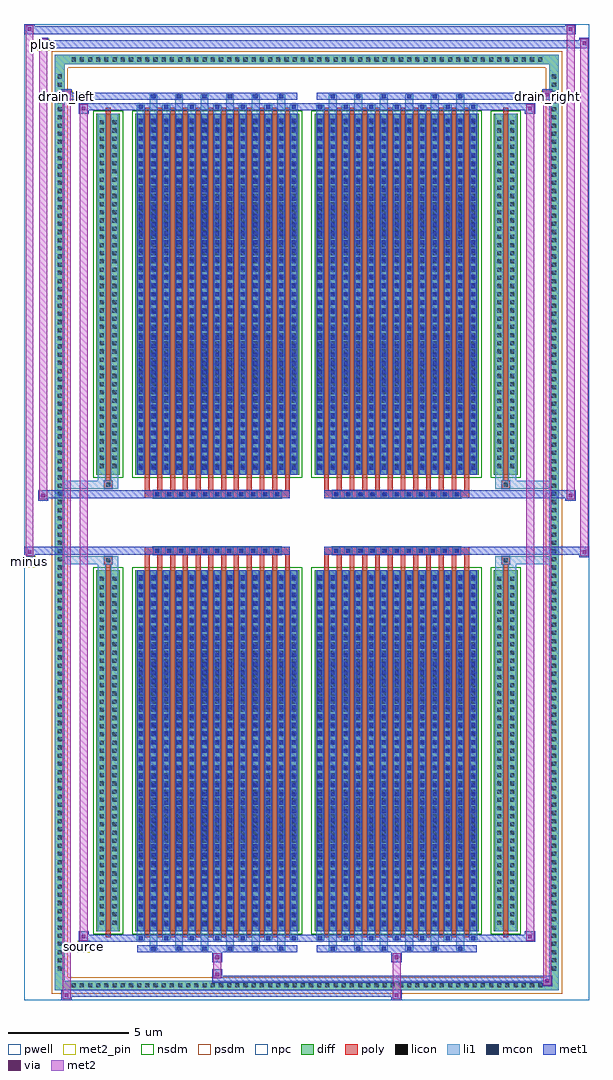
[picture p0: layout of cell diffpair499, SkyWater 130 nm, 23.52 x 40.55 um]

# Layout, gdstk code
import gdstk
lib = gdstk.Library(unit=1e-6, precision=5e-09)
def R(c, l, rs):  # rectangles x0, y0, x1, y1
    for r in rs: c.add(gdstk.rectangle(r[:2], r[2:], *l))
def A(c, l, x, y, w, h, nx, ny, dx, dy):  # array of equal rectangles
    R(c, l, [(x+i*dx, y+j*dy, x+i*dx+w, y+j*dy+h) for i in range(nx) for j in range(ny)])
def P(c, l, *ps):  # polygons
    for p in ps: c.add(gdstk.Polygon(p, *l))
pwell = (64, 44)
diff = (65, 20)
poly = (66, 20)
licon = (66, 44)
li1 = (67, 20)
mcon = (67, 44)
met1 = (68, 20)
via = (68, 44)
met2_pin = (69, 16)
met2 = (69, 20)
nsdm = (93, 44)
psdm = (94, 20)
npc = (95, 20)

diffpair499 = lib.new_cell('diffpair499')
R(diffpair499, pwell, [(-11.74,-19.84,11.74,20.71), (-9.06,-18.03,-0.01,-0.805), (0.01,-18.03,9.06,-0.805), (-9.06,0.805,-0.01,18.03), (0.01,0.805,9.06,18.03)])
A(diffpair499, diff, -9.895, -19.44, 0.41, 0.41, 58, 2, 0.34, 38.47)
A(diffpair499, diff, -10.47, -18.735, 0.41, 0.41, 1, 110, 0, 0.34)
A(diffpair499, diff, 10.06, -18.735, 0.41, 0.41, 1, 110, 0, 0.34)
R(diffpair499, diff, [(-9.895,-19.44,9.895,-19.03), (-10.47,-18.735,-10.06,18.735), (10.06,-18.735,10.47,18.735), (-8.75,-16.985,-7.77,-1.985), (-7.13,-16.985,-0.32,-1.985), (0.32,-16.985,7.13,-1.985), (7.77,-16.985,8.75,-1.985), (-8.75,1.985,-7.77,16.985), (-7.13,1.985,-0.32,16.985), (0.32,1.985,7.13,16.985), (7.77,1.985,8.75,16.985), (-9.895,19.03,9.895,19.44)])
P(diffpair499, diff, [(10.47,19.44),(-10.47,19.44),(-10.47,-19.03),(-10.06,-19.03),(-10.06,19.03),(10.06,19.03),(10.06,-19.03),(-10.06,-19.03),(-10.47,-19.03),(-10.47,-19.44),(10.47,-19.44)])
A(diffpair499, poly, -6.74, -17.235, 0.2, 15.5, 12, 2, 0.53, 18.97)
A(diffpair499, poly, 0.71, -17.235, 0.2, 15.5, 12, 2, 0.53, 18.97)
A(diffpair499, poly, -6.74, -1.735, 0.2, 0.4, 12, 2, 0.53, 3.07)
A(diffpair499, poly, 0.71, -1.735, 0.2, 0.4, 12, 2, 0.53, 3.07)
A(diffpair499, poly, -6.39, -1.335, 0.33, 0.33, 11, 2, 0.5, 2.34)
A(diffpair499, poly, 1.06, -1.335, 0.33, 0.33, 11, 2, 0.5, 2.34)
R(diffpair499, poly, [(-8.36,-17.235,-8.16,-1.735), (8.16,-17.235,8.36,-1.735), (-8.425,-1.735,-8.095,-1.405), (-8.425,-1.735,-8.095,-1.405), (8.095,-1.735,8.425,-1.405), (8.095,-1.735,8.425,-1.405), (-6.74,-1.335,-0.71,-1.005), (0.71,-1.335,6.74,-1.005), (-6.74,1.005,-0.71,1.335), (0.71,1.005,6.74,1.335), (-8.425,1.405,-8.095,1.735), (-8.425,1.405,-8.095,1.735), (8.095,1.405,8.425,1.735), (8.095,1.405,8.425,1.735), (-8.36,1.735,-8.16,17.235), (8.16,1.735,8.36,17.235)])
A(diffpair499, licon, -9.775, -19.32, 0.17, 0.17, 58, 2, 0.34, 38.47)
A(diffpair499, licon, -10.35, -18.615, 0.17, 0.17, 1, 110, 0, 0.34)
A(diffpair499, licon, 10.18, -18.615, 0.17, 0.17, 1, 110, 0, 0.34)
A(diffpair499, licon, -8.61, -16.71, 0.17, 0.17, 1, 43, 0, 0.34)
A(diffpair499, licon, -8.08, -16.71, 0.17, 0.17, 1, 43, 0, 0.34)
A(diffpair499, licon, -6.99, -16.71, 0.17, 0.17, 13, 43, 0.53, 0.34)
A(diffpair499, licon, 0.46, -16.71, 0.17, 0.17, 13, 43, 0.53, 0.34)
A(diffpair499, licon, 7.91, -16.71, 0.17, 0.17, 1, 43, 0, 0.34)
A(diffpair499, licon, 8.44, -16.71, 0.17, 0.17, 1, 43, 0, 0.34)
A(diffpair499, licon, -6.31, -1.255, 0.17, 0.17, 11, 2, 0.5, 2.34)
A(diffpair499, licon, 1.14, -1.255, 0.17, 0.17, 11, 2, 0.5, 2.34)
A(diffpair499, licon, -8.61, 2.26, 0.17, 0.17, 1, 43, 0, 0.34)
A(diffpair499, licon, -8.08, 2.26, 0.17, 0.17, 1, 43, 0, 0.34)
A(diffpair499, licon, -6.99, 2.26, 0.17, 0.17, 13, 43, 0.53, 0.34)
A(diffpair499, licon, 0.46, 2.26, 0.17, 0.17, 13, 43, 0.53, 0.34)
A(diffpair499, licon, 7.91, 2.26, 0.17, 0.17, 1, 43, 0, 0.34)
A(diffpair499, licon, 8.44, 2.26, 0.17, 0.17, 1, 43, 0, 0.34)
R(diffpair499, licon, [(-8.345,-1.655,-8.175,-1.485), (8.175,-1.655,8.345,-1.485), (-8.345,1.485,-8.175,1.655), (8.175,1.485,8.345,1.655)])
A(diffpair499, li1, -9.855, -19.4, 0.33, 0.33, 58, 2, 0.34, 38.47)
A(diffpair499, li1, -10.43, -18.695, 0.33, 0.33, 1, 110, 0, 0.34)
A(diffpair499, li1, 10.1, -18.695, 0.33, 0.33, 1, 110, 0, 0.34)
A(diffpair499, li1, -6.54, -17.79, 0.33, 0.805, 6, 2, 1.06, 34.775)
A(diffpair499, li1, -6.46, -17.79, 0.17, 0.17, 6, 2, 1.06, 35.41)
A(diffpair499, li1, 0.91, -17.79, 0.33, 0.805, 6, 2, 1.06, 34.775)
A(diffpair499, li1, 0.99, -17.79, 0.17, 0.17, 6, 2, 1.06, 35.41)
A(diffpair499, li1, -7.07, -17.36, 0.33, 0.375, 7, 2, 1.06, 34.345)
A(diffpair499, li1, -6.99, -17.36, 0.17, 0.17, 7, 2, 1.06, 34.55)
A(diffpair499, li1, 0.38, -17.36, 0.33, 0.375, 7, 2, 1.06, 34.345)
A(diffpair499, li1, 0.46, -17.36, 0.17, 0.17, 7, 2, 1.06, 34.55)
A(diffpair499, li1, -7.07, -16.985, 0.33, 15, 13, 2, 0.53, 18.97)
A(diffpair499, li1, 0.38, -16.985, 0.33, 15, 13, 2, 0.53, 18.97)
A(diffpair499, li1, -8.69, -16.79, 0.33, 0.33, 1, 43, 0, 0.34)
A(diffpair499, li1, -8.16, -16.79, 0.33, 0.33, 1, 43, 0, 0.34)
A(diffpair499, li1, -7.07, -16.79, 0.33, 0.33, 13, 43, 0.53, 0.34)
A(diffpair499, li1, 0.38, -16.79, 0.33, 0.33, 13, 43, 0.53, 0.34)
A(diffpair499, li1, 7.83, -16.79, 0.33, 0.33, 1, 43, 0, 0.34)
A(diffpair499, li1, 8.36, -16.79, 0.33, 0.33, 1, 43, 0, 0.34)
A(diffpair499, li1, -6.99, -16.77, 0.17, 0.17, 13, 41, 0.53, 0.36)
A(diffpair499, li1, -6.99, -16.77, 0.17, 14.57, 13, 2, 0.53, 18.97)
A(diffpair499, li1, 0.46, -16.77, 0.17, 0.17, 13, 41, 0.53, 0.36)
A(diffpair499, li1, 0.46, -16.77, 0.17, 14.57, 13, 2, 0.53, 18.97)
A(diffpair499, li1, -6.39, -1.335, 0.33, 0.33, 11, 2, 0.5, 2.34)
A(diffpair499, li1, 1.06, -1.335, 0.33, 0.33, 11, 2, 0.5, 2.34)
A(diffpair499, li1, -8.69, 2.18, 0.33, 0.33, 1, 43, 0, 0.34)
A(diffpair499, li1, -8.16, 2.18, 0.33, 0.33, 1, 43, 0, 0.34)
A(diffpair499, li1, -7.07, 2.18, 0.33, 0.33, 13, 43, 0.53, 0.34)
A(diffpair499, li1, 0.38, 2.18, 0.33, 0.33, 13, 43, 0.53, 0.34)
A(diffpair499, li1, 7.83, 2.18, 0.33, 0.33, 1, 43, 0, 0.34)
A(diffpair499, li1, 8.36, 2.18, 0.33, 0.33, 1, 43, 0, 0.34)
A(diffpair499, li1, -6.99, 2.2, 0.17, 0.17, 13, 41, 0.53, 0.36)
A(diffpair499, li1, 0.46, 2.2, 0.17, 0.17, 13, 41, 0.53, 0.36)
R(diffpair499, li1, [(-10.47,-19.44,-10.06,-19.03), (-10.47,-19.44,-10.06,-19.03), (-10.06,-19.44,10.06,-19.03), (10.06,-19.44,10.47,-19.03), (10.06,-19.44,10.47,-19.03), (-10.47,-19.03,-10.06,19.03), (10.06,-19.03,10.47,19.03), (-8.69,-16.985,-8.36,-1.985), (-8.16,-16.985,-7.83,-1.985), (7.83,-16.985,8.16,-1.985), (8.36,-16.985,8.69,-1.985), (-8.69,-1.985,-8.36,-1.405), (-8.16,-1.985,-7.83,-1.405), (7.83,-1.985,8.16,-1.405), (8.36,-1.985,8.69,-1.405), (-10.47,-1.735,-8.425,-1.405), (-8.69,-1.735,-8.425,-1.405), (-8.425,-1.735,-8.095,-1.405), (-8.095,-1.735,-7.83,-1.405), (7.83,-1.735,8.095,-1.405), (8.095,-1.735,8.425,-1.405), (8.095,-1.735,10.47,-1.405), (8.425,-1.735,8.69,-1.405), (-10.47,1.405,-8.425,1.735), (-8.69,1.405,-8.425,1.735), (-8.69,1.405,-8.36,1.985), (-8.425,1.405,-8.095,1.735), (-8.16,1.405,-7.83,1.985), (-8.095,1.405,-7.83,1.735), (7.83,1.405,8.095,1.735), (7.83,1.405,8.16,1.985), (8.095,1.405,8.425,1.735), (8.095,1.405,10.47,1.735), (8.36,1.405,8.69,1.985), (8.425,1.405,8.69,1.735), (-8.69,1.985,-8.36,16.985), (-8.16,1.985,-7.83,16.985), (7.83,1.985,8.16,16.985), (8.36,1.985,8.69,16.985), (-10.47,19.03,-10.06,19.44), (-10.47,19.03,-10.06,19.44), (-10.06,19.03,10.06,19.44), (10.06,19.03,10.47,19.44), (10.06,19.03,10.47,19.44)])
A(diffpair499, mcon, -6.46, -17.79, 0.17, 0.17, 6, 2, 1.06, 35.41)
A(diffpair499, mcon, 0.99, -17.79, 0.17, 0.17, 6, 2, 1.06, 35.41)
A(diffpair499, mcon, -6.99, -17.36, 0.17, 0.17, 7, 2, 1.06, 34.55)
A(diffpair499, mcon, 0.46, -17.36, 0.17, 0.17, 7, 2, 1.06, 34.55)
A(diffpair499, mcon, -6.99, -16.77, 0.17, 0.17, 13, 41, 0.53, 0.36)
A(diffpair499, mcon, 0.46, -16.77, 0.17, 0.17, 13, 41, 0.53, 0.36)
A(diffpair499, mcon, -6.31, -1.255, 0.17, 0.17, 11, 2, 0.5, 2.34)
A(diffpair499, mcon, 1.14, -1.255, 0.17, 0.17, 11, 2, 0.5, 2.34)
A(diffpair499, mcon, -6.99, 2.2, 0.17, 0.17, 13, 41, 0.53, 0.36)
A(diffpair499, mcon, 0.46, 2.2, 0.17, 0.17, 13, 41, 0.53, 0.36)
A(diffpair499, met1, -6.52, -17.85, 0.29, 0.29, 6, 2, 1.06, 35.41)
A(diffpair499, met1, 0.93, -17.85, 0.29, 0.29, 6, 2, 1.06, 35.41)
A(diffpair499, met1, -7.05, -17.42, 0.29, 0.29, 7, 2, 1.06, 34.55)
A(diffpair499, met1, 0.4, -17.42, 0.29, 0.29, 7, 2, 1.06, 34.55)
A(diffpair499, met1, -7.05, -16.985, 0.29, 15, 13, 2, 0.53, 18.97)
A(diffpair499, met1, 0.4, -16.985, 0.29, 15, 13, 2, 0.53, 18.97)
A(diffpair499, met1, -7.05, -16.83, 0.29, 0.29, 13, 41, 0.53, 0.36)
A(diffpair499, met1, 0.4, -16.83, 0.29, 0.29, 13, 41, 0.53, 0.36)
A(diffpair499, met1, -6.37, -1.315, 0.29, 0.29, 11, 2, 0.5, 2.34)
A(diffpair499, met1, 1.08, -1.315, 0.29, 0.29, 11, 2, 0.5, 2.34)
A(diffpair499, met1, -7.05, 2.14, 0.29, 0.29, 13, 41, 0.53, 0.36)
A(diffpair499, met1, 0.4, 2.14, 0.29, 0.29, 13, 41, 0.53, 0.36)
R(diffpair499, met1, [(-10.2,-19.84,-9.77,-19.41), (3.51,-19.84,3.94,-19.41), (-10.2,-19.7,3.94,-19.41), (9.77,-19.27,10.2,-18.84), (-3.94,-19.13,10.2,-18.84), (-3.94,-18.99,-3.51,-18.56), (-3.94,-18.28,-3.51,-17.85), (3.51,-18.28,3.94,-17.85), (-7.05,-17.85,-0.4,-17.56), (0.4,-17.85,7.05,-17.56), (-9.49,-17.42,-9.06,-16.99), (-9.49,-17.42,-7.05,-17.13), (-7.05,-17.42,-0.4,-17.13), (-0.4,-17.42,0.4,-17.13), (0.4,-17.42,7.05,-17.13), (7.05,-17.42,9.49,-17.13), (9.06,-17.42,9.49,-16.99), (-11.74,-1.435,-11.31,-1.005), (11.31,-1.435,11.74,-1.005), (-11.74,-1.335,-0.71,-1.005), (-6.74,-1.335,-0.71,-1.005), (0.71,-1.335,6.74,-1.005), (0.71,-1.335,11.74,-1.005), (-11.17,0.905,-10.74,1.335), (10.74,0.905,11.17,1.335), (-11.17,1.005,-6.74,1.335), (-6.74,1.005,-0.71,1.335), (0.71,1.005,6.74,1.335), (6.74,1.005,11.17,1.335), (-9.49,16.99,-9.06,17.42), (9.06,16.99,9.49,17.42), (-9.49,17.13,-7.05,17.42), (-7.05,17.13,-0.4,17.42), (-0.4,17.13,0.4,17.42), (0.4,17.13,7.05,17.42), (7.05,17.13,9.49,17.42), (-10.2,17.56,-9.77,17.99), (-10.2,17.56,-7.05,17.85), (-7.05,17.56,-0.4,17.85), (0.4,17.56,7.05,17.85), (7.05,17.56,10.2,17.85), (9.77,17.56,10.2,17.99), (-11.17,19.71,-10.74,20.14), (-11.17,19.71,-9.06,20.04), (-9.06,19.71,9.06,20.04), (9.06,19.71,11.74,20.04), (11.31,19.71,11.74,20.14), (-11.74,20.28,-11.31,20.71), (-11.74,20.28,-9.06,20.61), (-9.06,20.28,9.06,20.61), (9.06,20.28,11.17,20.61), (10.74,20.28,11.17,20.71)])
R(diffpair499, via, [(-10.06,-19.7,-9.91,-19.55), (3.65,-19.7,3.8,-19.55), (9.91,-19.13,10.06,-18.98), (-3.8,-18.85,-3.65,-18.7), (-3.8,-18.14,-3.65,-17.99), (3.65,-18.14,3.8,-17.99), (-9.35,-17.28,-9.2,-17.13), (9.2,-17.28,9.35,-17.13), (-11.6,-1.295,-11.45,-1.145), (11.45,-1.295,11.6,-1.145), (-11.03,1.045,-10.88,1.195), (10.88,1.045,11.03,1.195), (-9.35,17.13,-9.2,17.28), (9.2,17.13,9.35,17.28), (-10.06,17.7,-9.91,17.85), (9.91,17.7,10.06,17.85), (-11.03,19.85,-10.88,20), (11.45,19.85,11.6,20), (-11.6,20.42,-11.45,20.57), (10.88,20.42,11.03,20.57)])
R(diffpair499, met2_pin, [(-9.525,-17.87,-9.025,-17.37), (-11.775,-1.885,-11.275,-1.385), (-10.235,17.44,-9.735,17.94), (9.735,17.44,10.235,17.94), (-11.205,19.59,-10.705,20.09)])
R(diffpair499, met2, [(-10.15,-19.79,-9.82,-19.46), (-10.15,-19.79,-9.82,17.94), (3.56,-19.79,3.89,-19.46), (3.56,-19.46,3.89,-18.23), (9.82,-19.22,10.15,-18.89), (9.82,-19.22,10.15,17.94), (-3.89,-18.94,-3.56,-18.61), (-3.89,-18.61,-3.56,-18.23), (-3.89,-18.23,-3.56,-17.9), (3.56,-18.23,3.89,-17.9), (-9.44,-17.37,-9.11,-17.04), (-9.44,-17.37,-9.11,17.37), (9.11,-17.37,9.44,-17.04), (9.11,-17.37,9.44,17.37), (-11.69,-1.385,-11.36,-1.055), (-11.69,-1.385,-11.36,20.66), (11.36,-1.385,11.69,-1.055), (11.36,-1.385,11.69,20.09), (-11.12,0.955,-10.79,1.285), (-11.12,0.955,-10.79,20.09), (10.79,0.955,11.12,1.285), (10.79,0.955,11.12,20.66), (-9.44,17.04,-9.11,17.37), (9.11,17.04,9.44,17.37), (-10.15,17.61,-9.82,17.94), (9.82,17.61,10.15,17.94), (-11.12,19.76,-10.79,20.09), (11.36,19.76,11.69,20.09), (-11.69,20.33,-11.36,20.66), (10.79,20.33,11.12,20.66)])
P(diffpair499, met2, [(11.69,-1.385),(11.69,-1.385),(11.69,-1.055),(11.69,-1.055)],
  [(11.69,19.76),(11.69,19.76),(11.69,20.09),(11.69,20.09)],
  [(-11.36,-1.385),(-11.36,-1.385),(-11.36,-1.055),(-11.36,-1.055)],
  [(-11.36,20.33),(-11.36,20.33),(-11.36,20.66),(-11.36,20.66)],
  [(11.12,0.955),(11.12,0.955),(11.12,1.285),(11.12,1.285)],
  [(11.12,20.33),(11.12,20.33),(11.12,20.66),(11.12,20.66)],
  [(-10.79,0.955),(-10.79,0.955),(-10.79,1.285),(-10.79,1.285)],
  [(-10.79,19.76),(-10.79,19.76),(-10.79,20.09),(-10.79,20.09)],
  [(-9.82,-19.79),(-9.82,-19.79),(-9.82,-19.46),(-9.82,-19.46)],
  [(-9.82,17.61),(-9.82,17.61),(-9.82,17.94),(-9.82,17.94)],
  [(10.15,-19.22),(10.15,-19.22),(10.15,-18.89),(10.15,-18.89)],
  [(10.15,17.61),(10.15,17.61),(10.15,17.94),(10.15,17.94)],
  [(-9.11,-17.37),(-9.11,-17.37),(-9.11,-17.04),(-9.11,-17.04)],
  [(-9.11,17.04),(-9.11,17.04),(-9.11,17.37),(-9.11,17.37)],
  [(9.44,-17.37),(9.44,-17.37),(9.44,-17.04),(9.44,-17.04)],
  [(9.44,17.04),(9.44,17.04),(9.44,17.37),(9.44,17.37)])
R(diffpair499, nsdm, [(-8.88,-17.115,-7.64,-1.855), (-7.26,-17.115,-0.19,-1.855), (0.19,-17.115,7.26,-1.855), (7.64,-17.115,8.88,-1.855), (-8.88,1.855,-7.64,17.115), (-7.26,1.855,-0.19,17.115), (0.19,1.855,7.26,17.115), (7.64,1.855,8.88,17.115)])
P(diffpair499, psdm, [(10.6,19.57),(-10.6,19.57),(-10.6,-18.9),(-9.93,-18.9),(-9.93,18.9),(9.93,18.9),(9.93,-18.9),(-9.93,-18.9),(-10.6,-18.9),(-10.6,-19.57),(10.6,-19.57)])
A(diffpair499, npc, -6.41, -1.355, 0.37, 0.37, 11, 2, 0.5, 2.34)
A(diffpair499, npc, 1.04, -1.355, 0.37, 0.37, 11, 2, 0.5, 2.34)
R(diffpair499, npc, [(-8.445,-1.755,-8.075,-1.385), (8.075,-1.755,8.445,-1.385), (-6.41,-1.355,-5.54,-0.985), (-6.41,-1.355,-5.54,-0.985), (-5.91,-1.355,-5.04,-0.985), (-5.91,-1.355,-5.04,-0.985), (-5.41,-1.355,-4.54,-0.985), (-5.41,-1.355,-4.54,-0.985), (-4.91,-1.355,-4.04,-0.985), (-4.91,-1.355,-4.04,-0.985), (-4.41,-1.355,-3.54,-0.985), (-4.41,-1.355,-3.54,-0.985), (-3.91,-1.355,-3.04,-0.985), (-3.91,-1.355,-3.04,-0.985), (-3.41,-1.355,-2.54,-0.985), (-3.41,-1.355,-2.54,-0.985), (-2.91,-1.355,-2.04,-0.985), (-2.91,-1.355,-2.04,-0.985), (-2.41,-1.355,-1.54,-0.985), (-2.41,-1.355,-1.54,-0.985), (-1.91,-1.355,-1.04,-0.985), (-1.91,-1.355,-1.04,-0.985), (1.04,-1.355,1.91,-0.985), (1.04,-1.355,1.91,-0.985), (1.54,-1.355,2.41,-0.985), (1.54,-1.355,2.41,-0.985), (2.04,-1.355,2.91,-0.985), (2.04,-1.355,2.91,-0.985), (2.54,-1.355,3.41,-0.985), (2.54,-1.355,3.41,-0.985), (3.04,-1.355,3.91,-0.985), (3.04,-1.355,3.91,-0.985), (3.54,-1.355,4.41,-0.985), (3.54,-1.355,4.41,-0.985), (4.04,-1.355,4.91,-0.985), (4.04,-1.355,4.91,-0.985), (4.54,-1.355,5.41,-0.985), (4.54,-1.355,5.41,-0.985), (5.04,-1.355,5.91,-0.985), (5.04,-1.355,5.91,-0.985), (5.54,-1.355,6.41,-0.985), (5.54,-1.355,6.41,-0.985), (-6.41,0.985,-5.54,1.355), (-6.41,0.985,-5.54,1.355), (-5.91,0.985,-5.04,1.355), (-5.91,0.985,-5.04,1.355), (-5.41,0.985,-4.54,1.355), (-5.41,0.985,-4.54,1.355), (-4.91,0.985,-4.04,1.355), (-4.91,0.985,-4.04,1.355), (-4.41,0.985,-3.54,1.355), (-4.41,0.985,-3.54,1.355), (-3.91,0.985,-3.04,1.355), (-3.91,0.985,-3.04,1.355), (-3.41,0.985,-2.54,1.355), (-3.41,0.985,-2.54,1.355), (-2.91,0.985,-2.04,1.355), (-2.91,0.985,-2.04,1.355), (-2.41,0.985,-1.54,1.355), (-2.41,0.985,-1.54,1.355), (-1.91,0.985,-1.04,1.355), (-1.91,0.985,-1.04,1.355), (1.04,0.985,1.91,1.355), (1.04,0.985,1.91,1.355), (1.54,0.985,2.41,1.355), (1.54,0.985,2.41,1.355), (2.04,0.985,2.91,1.355), (2.04,0.985,2.91,1.355), (2.54,0.985,3.41,1.355), (2.54,0.985,3.41,1.355), (3.04,0.985,3.91,1.355), (3.04,0.985,3.91,1.355), (3.54,0.985,4.41,1.355), (3.54,0.985,4.41,1.355), (4.04,0.985,4.91,1.355), (4.04,0.985,4.91,1.355), (4.54,0.985,5.41,1.355), (4.54,0.985,5.41,1.355), (5.04,0.985,5.91,1.355), (5.04,0.985,5.91,1.355), (5.54,0.985,6.41,1.355), (5.54,0.985,6.41,1.355), (-8.445,1.385,-8.075,1.755), (8.075,1.385,8.445,1.755)])
diffpair499.add(gdstk.Label('minus', (-11.525,-1.635), layer=69, texttype=5))
diffpair499.add(gdstk.Label('drain_right', (9.985,17.69), layer=69, texttype=5))
diffpair499.add(gdstk.Label('drain_left', (-9.985,17.69), layer=69, texttype=5))
diffpair499.add(gdstk.Label('source', (-9.275,-17.62), layer=69, texttype=5))
diffpair499.add(gdstk.Label('plus', (-10.955,19.84), layer=69, texttype=5))

lib.write_gds('diffpair499.gds')
